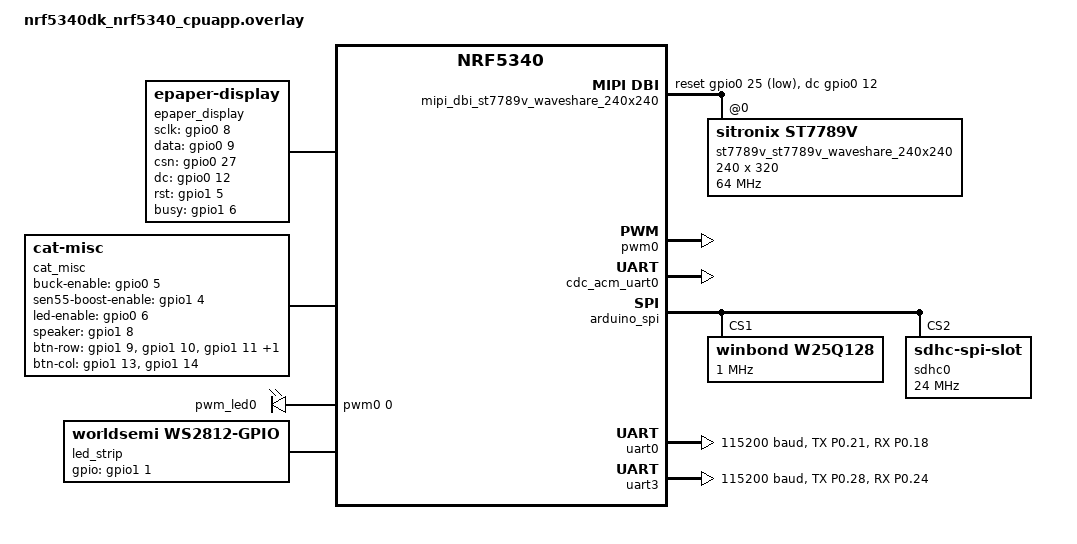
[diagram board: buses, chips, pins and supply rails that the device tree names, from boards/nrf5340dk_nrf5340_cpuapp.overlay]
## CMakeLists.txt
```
# SPDX-License-Identifier: Apache-2.0

cmake_minimum_required(VERSION 3.20.0)

list(APPEND BOARD_ROOT ${CMAKE_CURRENT_SOURCE_DIR})
find_package(Zephyr REQUIRED HINTS $ENV{ZEPHYR_BASE})
project(display)

add_subdirectory(vendor)
add_subdirectory(game)

target_sources(app PRIVATE
	src/batt.c
	src/ble.c
	src/buttons.c
	src/debugmenu.c
	src/display_pinctrl.c
	src/epaper_driver.c
	src/flash.c
	src/imu.c
	src/lcd_driver.c
	src/lcd_rendering.c
	src/main.c
	src/misc.c
	src/msht.c
	src/power_control.c
	src/rgb_leds.c
	src/rp2350_ipc.c
	src/rtc.c
	src/sound.c
	src/sbcdec.c
	src/sdcard.c
	src/sensor_hal.c
	src/sensor_lps22hh.c
	src/sensor_sen5x.c
	src/sensor_sunrise.c
	src/sound.c
	src/touch.c
	src/wlan.c
	src/bl_update.c

	#src/protobufs/nanopb.pb.c
	src/protobufs/pb_common.c
	src/protobufs/pb_decode.c
	src/protobufs/pb_encode.c

	src/protobufs/meshtastic/
	src/protobufs/meshtastic/admin.pb.c
	src/protobufs/meshtastic/apponly.pb.c
	src/protobufs/meshtastic/atak.pb.c
	src/protobufs/meshtastic/cannedmessages.pb.c
	src/protobufs/meshtastic/channel.pb.c
	src/protobufs/meshtastic/clientonly.pb.c
	src/protobufs/meshtastic/config.pb.c
	src/protobufs/meshtastic/connection_status.pb.c
	#src/protobufs/meshtastic/deviceonly.pb.c
	src/protobufs/meshtastic/device_ui.pb.c
	src/protobufs/meshtastic/interdevice.pb.c
	src/protobufs/meshtastic/localonly.pb.c
	src/protobufs/meshtastic/mesh.pb.c
	src/protobufs/meshtastic/module_config.pb.c
	src/protobufs/meshtastic/mqtt.pb.c
	src/protobufs/meshtastic/paxcount.pb.c
	src/protobufs/meshtastic/portnums.pb.c
	src/protobufs/meshtastic/powermon.pb.c
	src/protobufs/meshtastic/remote_hardware.pb.c
	src/protobufs/meshtastic/rtttl.pb.c
	src/protobufs/meshtastic/storeforward.pb.c
	src/protobufs/meshtastic/telemetry.pb.c
	src/protobufs/meshtastic/xmodem.pb.c

	src/mt_test.c


	src/menu/menu_time.c
	src/menu/menu_system.c
)

target_compile_options(app PRIVATE -fsingle-precision-constant)

target_include_directories(app PRIVATE 
	src/ 
	src/menu/
	src/protobufs/
)

if(MINIMIZE_GAME_FOOTPRINT)
	message(WARNING "Not building in the actual game")
	target_compile_definitions(app PRIVATE MINIMIZE_GAME_FOOTPRINT=1)
endif()

if(INCLUDE_BOOTLOADER_IMAGE)
	target_compile_definitions(app PRIVATE BL_IMAGE_INCLUDED=1)
endif()

zephyr_linker_sources(SECTIONS persistant.ld)
```

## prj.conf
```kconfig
CONFIG_BOOTLOADER_MCUBOOT=y
CONFIG_MCUBOOT_BOOTLOADER_MODE_SINGLE_APP=y
CONFIG_MCUBOOT_GENERATE_UNSIGNED_IMAGE=y

CONFIG_LOG=y
CONFIG_LOG_MODE_DEFERRED=y
CONFIG_LOG_BUFFER_SIZE=8192
CONFIG_LOG_PRINTK=n
CONFIG_DISPLAY=y
CONFIG_GPIO=y
CONFIG_I2C=y
CONFIG_LED_STRIP=y
CONFIG_LED_STRIP_LOG_LEVEL_DBG=y
CONFIG_PWM=y

CONFIG_SOC_ENABLE_LFXO=y
CONFIG_SOC_LFXO_CAP_INT_7PF=y
CONFIG_SOC_HFXO_CAP_INTERNAL=y
CONFIG_SOC_HFXO_CAP_INT_VALUE_X2=25

CONFIG_USB_DEVICE_STACK=y
CONFIG_USB_DEVICE_PRODUCT="CAT PROTOTYPE"
CONFIG_USB_DEVICE_PID=0x0004
CONFIG_USB_DEVICE_INITIALIZE_AT_BOOT=n

CONFIG_SERIAL=y
CONFIG_CONSOLE=y
CONFIG_UART_CONSOLE=y
CONFIG_UART_LINE_CTRL=y

CONFIG_SHELL=y
CONFIG_KERNEL_SHELL=y

CONFIG_EARLY_CONSOLE=y

CONFIG_NETWORKING=y
CONFIG_TEST_RANDOM_GENERATOR=y

CONFIG_MAIN_STACK_SIZE=8192
CONFIG_SHELL_STACK_SIZE=5200
CONFIG_NET_TX_STACK_SIZE=2048
CONFIG_NET_RX_STACK_SIZE=2048

CONFIG_NET_DHCPV4=y

CONFIG_NET_IPV4=y
CONFIG_NET_IPV6=n

CONFIG_NET_TCP=y

CONFIG_NET_LOG=y
CONFIG_INIT_STACKS=y

CONFIG_NET_SHELL=y

CONFIG_NET_STATISTICS=y
CONFIG_NET_STATISTICS_PERIODIC_OUTPUT=n

CONFIG_WIFI=y
CONFIG_WIFI_LOG_LEVEL_ERR=y
CONFIG_NET_L2_WIFI_SHELL=y
# printing of scan results puts pressure on queues in new locking
# design in net_mgmt. So, use a higher timeout for a crowded
# environment.
CONFIG_NET_MGMT_EVENT_QUEUE_TIMEOUT=5000
CONFIG_NET_MGMT_EVENT_QUEUE_SIZE=16

# "works" at 64MHz
#CONFIG_DELAY_T0H=51
#CONFIG_DELAY_T1H=102
#CONFIG_DELAY_T0L=109
#CONFIG_DELAY_T1L=57

# "works" at 128MHz
#CONFIG_DELAY_T0H=102
#CONFIG_DELAY_T1H=204
#CONFIG_DELAY_T0L=218
#CONFIG_DELAY_T1L=114

CONFIG_DELAY_T0H=41
CONFIG_DELAY_T0L=48
CONFIG_DELAY_T1H=87
CONFIG_DELAY_T1L=46

CONFIG_NRF_WIFI_IF_AUTO_START=n

CONFIG_FLASH=y
CONFIG_FLASH_SHELL=y
CONFIG_FLASH_SHELL_TEST_COMMANDS=y
CONFIG_REBOOT=y

CONFIG_ADC=y
CONFIG_ADC_ASYNC=y
CONFIG_ADC_NRFX_SAADC=y
CONFIG_CBPRINTF_FP_SUPPORT=y


CONFIG_DISK_ACCESS=y
CONFIG_DISK_DRIVER_SDMMC=y
CONFIG_FILE_SYSTEM=y
CONFIG_FILE_SYSTEM_SHELL=y
CONFIG_FAT_FILESYSTEM_ELM=y






#####################

CONFIG_SYSTEM_WORKQUEUE_STACK_SIZE=4096
CONFIG_STACK_SENTINEL=y

CONFIG_BT=y
CONFIG_LOG=y
CONFIG_BT_SMP=y
CONFIG_BT_SIGNING=y
CONFIG_BT_PERIPHERAL=y
CONFIG_BT_ATT_PREPARE_COUNT=5
CONFIG_BT_BAS=y
CONFIG_BT_PRIVACY=n
CONFIG_BT_DEVICE_NAME="uCrit"
CONFIG_BT_DEVICE_APPEARANCE=1346
CONFIG_BT_DEVICE_NAME_DYNAMIC=y
CONFIG_BT_DEVICE_NAME_MAX=65
CONFIG_BT_OBSERVER=y

CONFIG_BT_KEYS_OVERWRITE_OLDEST=n
CONFIG_BT_SETTINGS=n
CONFIG_FLASH=y
CONFIG_FLASH_MAP=y
CONFIG_NVS=n
CONFIG_SETTINGS=n

CONFIG_BT_DIS=y
CONFIG_BT_DIS_MODEL="uCrit"
CONFIG_BT_DIS_MANUF="Entropic Engineering"
CONFIG_BT_DIS_PNP=n




CONFIG_PINCTRL=y
CONFIG_PINCTRL_DYNAMIC=y

CONFIG_SPI_ASYNC=y



CONFIG_WIFI=y

CONFIG_NRF70_AP_MODE=n
CONFIG_NRF70_P2P_MODE=n
CONFIG_NET_PKT_TX_COUNT=4
CONFIG_NET_PKT_RX_COUNT=4
CONFIG_NET_BUF_TX_COUNT=4
CONFIG_NET_BUF_RX_COUNT=4
CONFIG_NET_MAX_CONTEXTS=2
#CONFIG_NRF70_RX_NUM_BUFS=1
#CONFIG_HEAP_MEM_POOL_IGNORE_MIN=y
CONFIG_SPEED_OPTIMIZATIONS=y
CONFIG_NRF70_QSPI_LOW_POWER=n
CONFIG_NRF70_UTIL=n
#CONFIG_NRF70_MAX_TX_AGGREGATION=1
#CONFIG_NRF70_MAX_TX_TOKENS=5
#CONFIG_ZVFS_OPEN_MAX=3
#CONFIG_NET_SOCKETS_POLL_MAX=3
# Sockets: select + poll take up more stack
CONFIG_MAIN_STACK_SIZE=5200
CONFIG_SHELL_STACK_SIZE=5200
CONFIG_NET_MGMT_EVENT_STACK_SIZE=4600
CONFIG_WIFI_NM_WPA_SUPPLICANT_ADVANCED_FEATURES=n
CONFIG_WIFI_NM_WPA_SUPPLICANT_WPA3=n
CONFIG_WIFI_NM_WPA_SUPPLICANT_CRYPTO=y
CONFIG_WIFI_NM_WPA_SUPPLICANT_CRYPTO_ALT=n


####

CONFIG_SIZE_OPTIMIZATIONS=y
CONFIG_ARM_MPU=n
CONFIG_BT_DEBUG_NONE=y
CONFIG_BT_CONN_LOG_LEVEL_OFF=y
CONFIG_BT_HCI_CORE_LOG_LEVEL_OFF=y
CONFIG_BT_ASSERT=n
CONFIG_BT_DATA_LEN_UPDATE=n
CONFIG_BT_PHY_UPDATE=n
CONFIG_BT_GATT_CACHING=n
CONFIG_BT_GATT_SERVICE_CHANGED=n
CONFIG_BT_GAP_PERIPHERAL_PREF_PARAMS=n
CONFIG_BT_SETTINGS_CCC_LAZY_LOADING=y
CONFIG_BT_HCI_VS=y
CONFIG_BT_CTLR_PRIVACY=n
CONFIG_BT_CTLR_PHY_2M=n
CONFIG_BT_BUF_EVT_DISCARDABLE_COUNT=1
CONFIG_BT_BUF_EVT_DISCARDABLE_SIZE=43
CONFIG_BT_BUF_EVT_RX_COUNT=2

CONFIG_BT_CONN_TX_MAX=6
CONFIG_BT_L2CAP_TX_BUF_COUNT=6
CONFIG_BT_ATT_TX_COUNT=6
CONFIG_BT_BUF_ACL_TX_COUNT=6
CONFIG_BT_BUF_ACL_TX_SIZE=69

CONFIG_POWEROFF=y

CONFIG_NRFX_RTC0=y
CONFIG_NRFX_TIMER0=y
CONFIG_SHELL_BACKEND_SERIAL_RX_RING_BUFFER_SIZE=256
CONFIG_HEAP_MEM_POOL_SIZE=1
#^gets overridden but enables fs shell

CONFIG_WIFI=n
CONFIG_LINKER_LAST_SECTION_ID=n
#CONFIG_PM_DEVICE=y

################################################################
## Optimizations

CONFIG_FPU=y
CONFIG_FPU_SHARING=y

#CONFIG_ISR_TABLES_LOCAL_DECLARATION=y
#CONFIG_LTO=y

CONFIG_NETWORKING=y

CONFIG_SHELL=n
CONFIG_NET_SHELL=n
CONFIG_SHELL_BACKEND_SERIAL=n
CONFIG_FLASH_SHELL=n
CONFIG_NET_L2_WIFI_SHELL=n
CONFIG_KERNEL_SHELL=n
CONFIG_SHELL_MINIMAL=n
CONFIG_SHELL_HELP=n
CONFIG_SHELL_HISTORY=n
CONFIG_SHELL_STATS=n
CONFIG_SHELL_CMDS=n
CONFIG_SHELL_CMDS_RESIZE=n
CONFIG_SHELL_CMDS_SELECT=n
CONFIG_SHELL_LOG_BACKEND=n
CONFIG_SHELL_AUTOSTART=n

CONFIG_NEWLIB_LIBC_FLOAT_PRINTF=n
CONFIG_NEWLIB_LIBC_FLOAT_SCANF=n
```

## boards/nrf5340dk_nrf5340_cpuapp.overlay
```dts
#include <zephyr/dt-bindings/mipi_dbi/mipi_dbi.h>

&flash0 {
	/delete-node/ partitions;
	partitions {
		compatible = "fixed-partitions";
		#address-cells = < 0x1 >;
		#size-cells = < 0x1 >;
		boot_partition: partition@0 {
			label = "catboot";
			reg = < 0x00000 0x0E000 >;
		};
		slot0_partition: partition@E000 {
			label = "image-0";
			reg = < 0x0E000 0xF2000 >;
		};
	};
};

/ {
	
	chosen {
		zephyr,display = &st7789v_st7789v_waveshare_240x240;
		gpio0 = &gpio0;
		pwm = &pwm0;
	};


	mipi_dbi_st7789v_waveshare_240x240 {
		status = "okay";
		compatible = "zephyr,mipi-dbi-spi";
		spi-dev = <&display_spi>;
		dc-gpios = <&gpio0 12 GPIO_ACTIVE_HIGH>;
		reset-gpios = <&gpio0 25 GPIO_ACTIVE_LOW>;
		write-only;
		#address-cells = <1>;
		#size-cells = <0>;

		st7789v_st7789v_waveshare_240x240: st7789v@0 {
			status = "okay";
			compatible = "sitronix,st7789v";
			mipi-max-frequency = <DT_FREQ_M(64)>;
			reg = <0>;
			width = <240>;
			height = <320>;
			x-offset = <0>;
			y-offset = <0>;
			vcom = <0x19>;
			gctrl = <0x35>;
			vrhs = <0x12>;
			vdvs = <0x20>;
			mdac = <0x00>;
			gamma = <0x01>;
			colmod = <0x05>;
			lcm = <0x2c>;
			porch-param = [0c 0c 00 33 33];
			cmd2en-param = [5a 69 02 01];
			pwctrl1-param = [a4 a1];
			pvgam-param = [D0 04 0D 11 13 2B 3F 54 4C 18 0D 0B 1F 23];
			nvgam-param = [D0 04 0C 11 13 2C 3F 44 51 2F 1F 1F 20 23];
			ram-param = [00 F0];
			rgb-param = [CD 08 14];
			mipi-mode = <MIPI_DBI_MODE_SPI_4WIRE>;
			inversion-off;
		};
	};
	


	epaper_display: epaper-display {
		compatible = "epaper-display";

		sclk-gpios = <&gpio0 8 GPIO_ACTIVE_HIGH>;
		data-gpios = <&gpio0 9 GPIO_ACTIVE_HIGH>;
		csn-gpios = <&gpio0 27 GPIO_ACTIVE_HIGH>;
		dc-gpios = <&gpio0 12 GPIO_ACTIVE_HIGH>;
		rst-gpios = <&gpio1 5 GPIO_ACTIVE_HIGH>;
		busy-gpios = <&gpio1 6 (GPIO_ACTIVE_HIGH|GPIO_PULL_UP)>;
	};

	cat_misc: cat-misc {
		compatible = "cat-misc";

		buck-enable-gpios = <&gpio0 5 GPIO_ACTIVE_HIGH>;
		sen55-boost-enable-gpios = <&gpio1 4 GPIO_ACTIVE_HIGH>;
		led-enable-gpios = <&gpio0 6 GPIO_ACTIVE_HIGH>;
		speaker-gpios = <&gpio1 8 GPIO_ACTIVE_HIGH>;
		btn-row-gpios = <&gpio1 9 GPIO_ACTIVE_HIGH>, <&gpio1 10 GPIO_ACTIVE_HIGH>, <&gpio1 11 GPIO_ACTIVE_HIGH>, <&gpio1 12 GPIO_ACTIVE_HIGH> ;
		btn-col-gpios = <&gpio1 13 GPIO_ACTIVE_HIGH>, <&gpio1 14 GPIO_ACTIVE_HIGH>;
	};

	pwmleds {
		compatible = "pwm-leds";
		status = "okay";
		pwm_led0: pwm_led_0 {
			status = "okay";
			pwms = <&pwm0 0 PWM_MSEC(20) PWM_POLARITY_NORMAL>;
		};
	};

	aliases {
		pwm-led0 = &pwm_led0;
		pwm0 = &pwm0;
	};
};

&pwm0 {
	status = "okay";
	pinctrl-0 = <&pwm0_default>;
	pinctrl-1 = <&pwm0_sleep>;
	pinctrl-names = "default", "sleep";
	#lcd-backlight-pwm-cells = <0>;
};

/ {
	chosen {
		zephyr,console = &cdc_acm_uart0;
	};
};

/ {
	chosen {
		zephyr,shell-uart = &cdc_acm_uart0;
	};
};

&zephyr_udc0 {
	cdc_acm_uart0: cdc_acm_uart0 {
		compatible = "zephyr,cdc-acm-uart";
	};
};

/ {
	chosen {
		xxx,sdhcd0 = &sdhc0;
		xxx,mmc = &mmc;
	};
};

&gpio_fwd {
	status = "disabled";
};

#include <zephyr/dt-bindings/gpio/nordic-nrf-gpio.h>
#include <zephyr/dt-bindings/gpio/gpio.h>

&arduino_spi {
	status = "okay";

	w25q128: w25q128@1 {
        compatible = "winbond,w25q128", "jedec,spi-nor";
        zephyr,deferred-init;
        status = "okay";
        reg = <1>;
        spi-max-frequency = <DT_FREQ_M(1)>;
        size = <0x8000000>;  /* 16MB (128Mbit) */
        jedec-id = [ef 70 18]; // W25Q128JVPIM TODO: Will need to modify if switching to qspi [capable]
    };

    sdhc0: sdhc@2 {
        compatible = "zephyr,sdhc-spi-slot";
        zephyr,deferred-init;
        reg = <2>;
        status = "okay";
        mmc: mmc {
            compatible = "zephyr,sdmmc-disk";
            zephyr,deferred-init;
            status = "okay";
        };
        spi-max-frequency = <24000000>;
    };
};

&uart0 {
    status = "okay";
    current-speed = <115200>;
    pinctrl-0 = <&uart0_default>;
    pinctrl-1 = <&uart0_sleep>;
    pinctrl-names = "default", "sleep";
};

&pinctrl {
    uart0_default: uart0_default {
        group1 {
            psels = <NRF_PSEL(UART_TX, 0, 21)>,
                    <NRF_PSEL(UART_RX, 0, 18)>;
        };
    };

    uart0_sleep: uart0_sleep {
        group1 {
            psels = <NRF_PSEL(UART_TX, 0, 21)>,
                    <NRF_PSEL(UART_RX, 0, 18)>;
            low-power-enable;
        };
    };
};

&uart3 {
    status = "okay";
    #current-speed = <38400>;
    current-speed = <115200>;
    pinctrl-0 = <&uart3_default>;
    pinctrl-1 = <&uart3_sleep>;
    pinctrl-names = "default", "sleep";
};

&pinctrl {
    uart3_default: uart3_default {
        group1 {
            psels = <NRF_PSEL(UART_TX, 0, 28)>,
                    <NRF_PSEL(UART_RX, 0, 24)>;
        };
    };

    uart3_sleep: uart3_sleep {
        group1 {
            psels = <NRF_PSEL(UART_TX, 0, 28)>,
                    <NRF_PSEL(UART_RX, 0, 24)>;
            low-power-enable;
        };
    };
};

#include <zephyr/dt-bindings/led/led.h>

/ {
	led_strip: ws2812 {
		compatible = "worldsemi,ws2812-gpio";

		chain-length = <8>; /* arbitrary */
		color-mapping = <LED_COLOR_ID_GREEN
				 LED_COLOR_ID_RED
				 LED_COLOR_ID_BLUE>;

		gpios = <&gpio1 1 0>;
	};

	aliases {
		led-strip = &led_strip;
	};
};


&pinctrl {
	/* Alternative pin configuration for UART0 */
	pc_alt_lcd: pc_alt_lcd {
		group1 {
			psels = <NRF_PSEL(SPIM_SCK, 0, 8)>,
				<NRF_PSEL_DISCONNECTED(SPIM_MISO)>,
				<NRF_PSEL(SPIM_MOSI, 0, 9)>;
		};
	};

	pc_alt_epd: pc_alt_epd {
		group1 {
			psels = <NRF_PSEL_DISCONNECTED(SPIM_SCK)>,
				<NRF_PSEL_DISCONNECTED(SPIM_MISO)>,
				<NRF_PSEL_DISCONNECTED(SPIM_MOSI)>;
		};
	};
};

/* ——— force the NFCT pins to behave like GPIOs ——— */
&uicr {
	nfct-pins-as-gpios;
};
```

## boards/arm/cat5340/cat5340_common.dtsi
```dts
/*
 * Copyright (c) 2020 Nordic Semiconductor ASA
 *
 * SPDX-License-Identifier: Apache-2.0
 */

/ {
	/*
	leds {
		status = "disabled";
		compatible = "gpio-leds";
		led0: led_0 {
			gpios = <&gpio0 28 GPIO_ACTIVE_LOW>;
			label = "Green LED 0";
		};
		led1: led_1 {
			gpios = <&gpio0 29 GPIO_ACTIVE_LOW>;
			label = "Green LED 1";
		};
		led2: led_2 {
			gpios = <&gpio0 30 GPIO_ACTIVE_LOW>;
			label = "Green LED 2";
		};
		led3: led_3 {
			gpios = <&gpio0 31 GPIO_ACTIVE_LOW>;
			label = "Green LED 3";
		};
	};

	buttons {
		status = "disabled";
		compatible = "gpio-keys";
		button0: button_0 {
			gpios = <&gpio0 23 (GPIO_PULL_UP | GPIO_ACTIVE_LOW)>;
			label = "Push button 1";
			zephyr,code = <INPUT_KEY_0>;
		};
		button1: button_1 {
			gpios = <&gpio0 24 (GPIO_PULL_UP | GPIO_ACTIVE_LOW)>;
			label = "Push button 2";
			zephyr,code = <INPUT_KEY_1>;
		};
		button2: button_2 {
			gpios = <&gpio0 8 (GPIO_PULL_UP | GPIO_ACTIVE_LOW)>;
			label = "Push button 3";
			zephyr,code = <INPUT_KEY_2>;
		};
		button3: button_3 {
			gpios = <&gpio0 9 (GPIO_PULL_UP | GPIO_ACTIVE_LOW)>;
			label = "Push button 4";
			zephyr,code = <INPUT_KEY_3>;
		};
	};
	*/

	/*
	arduino_header: connector {
		compatible = "arduino-header-r3";
		#gpio-cells = <2>;
		gpio-map-mask = <0xffffffff 0xffffffc0>;
		gpio-map-pass-thru = <0 0x3f>;
		gpio-map = <0 0 &gpio0 4 0>,  // A0
			   <1 0 &gpio0 5 0>,  // A1
			   <2 0 &gpio0 6 0>,  // A2
			   <3 0 &gpio0 7 0>,  // A3
			   <4 0 &gpio0 25 0>,  // A4
			   <5 0 &gpio0 26 0>,  // A5
			   <6 0 &gpio1 0 0>,  // D0
			   <7 0 &gpio1 1 0>,  // D1
			   <8 0 &gpio1 4 0>,  // D2
			   <9 0 &gpio1 5 0>,  // D3
			   <10 0 &gpio1 6 0>,  // D4
			   <11 0 &gpio1 7 0>,  // D5
			   <12 0 &gpio1 8 0>,  // D6
			   <13 0 &gpio1 9 0>,  // D7
			   <14 0 &gpio1 10 0>,  // D8
			   <15 0 &gpio1 11 0>,  // D9
			   <16 0 &gpio1 12 0>,  // D10
			   <17 0 &gpio1 13 0>,  // D11
			   <18 0 &gpio1 14 0>,  // D12
			   <19 0 &gpio1 15 0>,  // D13
			   <20 0 &gpio1 2 0>,  // D14
			   <21 0 &gpio1 3 0>;  // D15
	};
	*/

	/* These aliases are provided for compatibility with samples */
	aliases {
		/*
		led0 = &led0;
		led1 = &led1;
		led2 = &led2;
		led3 = &led3;
		sw0 = &button0;
		sw1 = &button1;
		sw2 = &button2;
		sw3 = &button3;
		bootloader-led0 = &led0;
		mcuboot-button0 = &button0;
		mcuboot-led0 = &led0;
		*/
	};
};
```

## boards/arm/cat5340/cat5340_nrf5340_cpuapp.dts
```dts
/*
 * Copyright (c) 2020 Nordic Semiconductor ASA
 *
 * SPDX-License-Identifier: Apache-2.0
 */

/dts-v1/;
#include <nordic/nrf5340_cpuapp_qkaa.dtsi>
#include "nrf5340_cpuapp_common.dtsi"

/ {
	model = "Nordic NRF5340 DK NRF5340 Application";
	compatible = "nordic,cat5340-nrf5340-cpuapp";

	chosen {
		zephyr,sram = &sram0_image;
		zephyr,flash = &flash0;
		zephyr,code-partition = &slot0_partition;
		zephyr,sram-secure-partition = &sram0_s;
		zephyr,sram-non-secure-partition = &sram0_ns;
	};
};


#include "../../nrf5340dk_nrf5340_cpuapp.overlay"
```

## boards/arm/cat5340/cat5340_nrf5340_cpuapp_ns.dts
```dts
/*
 * Copyright (c) 2020 Nordic Semiconductor ASA
 *
 * SPDX-License-Identifier: Apache-2.0
 */

/dts-v1/;
#include <nordic/nrf5340_cpuappns_qkaa.dtsi>
#include "nrf5340_cpuapp_common.dtsi"

/ {
	model = "Nordic NRF5340 DK NRF5340 Application";
	compatible = "nordic,cat5340-nrf5340-cpuapp";

	chosen {
		zephyr,sram = &sram0_ns_app;
		zephyr,flash = &flash0;
		zephyr,code-partition = &slot0_ns_partition;
	};
};
```

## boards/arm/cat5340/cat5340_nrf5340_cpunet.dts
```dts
/*
 * Copyright (c) 2020 Nordic Semiconductor ASA
 *
 * SPDX-License-Identifier: Apache-2.0
 */

/dts-v1/;
#include <nordic/nrf5340_cpunet_qkaa.dtsi>
#include "cat5340_common.dtsi"
#include "cat5340_nrf5340_cpunet-pinctrl.dtsi"
#include <zephyr/dt-bindings/input/input-event-codes.h>

/ {
	model = "Nordic NRF5340 DK NRF5340 Network";
	compatible = "nordic,cat5340-nrf5340-cpunet";

	chosen {
		zephyr,console = &uart0;
		zephyr,shell-uart = &uart0;
		zephyr,uart-mcumgr = &uart0;
		zephyr,bt-mon-uart = &uart0;
		zephyr,bt-c2h-uart = &uart0;
		zephyr,bt-hci-ipc = &ipc0;
		nordic,802154-spinel-ipc = &ipc0;
		zephyr,sram = &sram1;
		zephyr,flash = &flash1;
		zephyr,code-partition = &slot0_partition;
		zephyr,ieee802154 = &ieee802154;
	};

	/* These aliases are provided for compatibility with samples */
	aliases {
		watchdog0 = &wdt0;
	};
};

&gpiote {
	status = "okay";
};

&gpio0 {
	status = "okay";
};

&gpio1 {
	status = "okay";
};

&uart0 {
	status = "okay";
	current-speed = <115200>;
	pinctrl-0 = <&uart0_default>;
	pinctrl-1 = <&uart0_sleep>;
	pinctrl-names = "default", "sleep";
};

arduino_serial: &uart0{};

arduino_i2c: &i2c0 {
	compatible = "nordic,nrf-twim";
	/* Cannot be used together with uart0. */
	/* status = "okay"; */
	pinctrl-0 = <&i2c0_default>;
	pinctrl-1 = <&i2c0_sleep>;
	pinctrl-names = "default", "sleep";
};

arduino_spi: &spi0 {
	compatible = "nordic,nrf-spim";
	/* Cannot be used together with uart0. */
	/* status = "okay"; */
	cs-gpios = <&arduino_header 16 GPIO_ACTIVE_LOW>; /* D10 */
	pinctrl-0 = <&spi0_default>;
	pinctrl-1 = <&spi0_sleep>;
	pinctrl-names = "default", "sleep";
};

&flash1 {

	partitions {
		compatible = "fixed-partitions";
		#address-cells = <1>;
		#size-cells = <1>;

		boot_partition: partition@0 {
			label = "mcuboot";
			reg = <0x00000000 0xc000>;
		};
		slot0_partition: partition@c000 {
			label = "image-0";
			reg = <0x0000C000 0x17000>;
		};
		slot1_partition: partition@23000 {
			label = "image-1";
			reg = <0x00023000 0x17000>;
		};
		storage_partition: partition@3a000 {
			label = "storage";
			reg = <0x0003a000 0x6000>;
		};
	};
};

&ieee802154 {
	status = "okay";
};

/* Include default shared RAM configuration file */
#include <common/nordic/nrf5340_shared_sram_partition.dtsi>
```

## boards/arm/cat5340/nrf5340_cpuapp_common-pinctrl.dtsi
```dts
/*
 * Copyright (c) 2022 Nordic Semiconductor
 * SPDX-License-Identifier: Apache-2.0
 */

&pinctrl {
	pwm0_default: pwm0_default {
		group1 {
			psels = <NRF_PSEL(PWM_OUT0, 1, 0)>;
		};
	};

	pwm0_sleep: pwm0_sleep {
		group1 {
			psels = <NRF_PSEL(PWM_OUT0, 1, 0)>;
			low-power-enable;
		};
	};

	i2c1_default: i2c1_default {
		group1 {
			psels = <NRF_PSEL(TWIM_SDA, 1, 2)>,
				<NRF_PSEL(TWIM_SCL, 1, 3)>;
		};
	};

	i2c1_sleep: i2c1_sleep {
		group1 {
			psels = <NRF_PSEL(TWIM_SDA, 1, 2)>,
				<NRF_PSEL(TWIM_SCL, 1, 3)>;
			low-power-enable;
		};
	};

	spi4_default: spi4_default {
		group1 {
			psels = <NRF_PSEL(SPIM_SCK, 0, 17)>,
				<NRF_PSEL(SPIM_MISO, 0, 14)>,
				<NRF_PSEL(SPIM_MOSI, 0, 13)>;
		};
	};

	spi4_sleep: spi4_sleep {
		group1 {
			psels = <NRF_PSEL(SPIM_SCK, 0, 17)>,
				<NRF_PSEL(SPIM_MISO, 0, 14)>,
				<NRF_PSEL(SPIM_MOSI, 0, 13)>;
			low-power-enable;
		};
	};

	spi2_default: spi2_default {
		group1 {
			psels = <NRF_PSEL(SPIM_SCK, 0, 8)>,
				<NRF_PSEL_DISCONNECTED(SPIM_MISO)>,
				<NRF_PSEL(SPIM_MOSI, 0, 9)>;
		};
	};

	spi2_sleep: spi2_sleep {
		group1 {
			psels = <NRF_PSEL(SPIM_SCK, 0, 8)>,
				<NRF_PSEL_DISCONNECTED(SPIM_MISO)>,
				<NRF_PSEL(SPIM_MOSI, 0, 9)>;
			low-power-enable;
		};
	};

};
```

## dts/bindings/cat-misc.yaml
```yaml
# Copyright (c) 2023 Libre Solar Technologies GmbH
# SPDX-License-Identifier: Apache-2.0

description: Misc

compatible: "cat-misc"

properties:
  buck-enable-gpios:
    type: phandle-array
    required: true
  sen55-boost-enable-gpios:
    type: phandle-array
    required: true
  speaker-gpios:
    type: phandle-array
    required: true
  btn-row-gpios:
    type: phandle-array
    required: true
  btn-col-gpios:
    type: phandle-array
    required: true
  led-enable-gpios:
    type: phandle-array
    required: true
```

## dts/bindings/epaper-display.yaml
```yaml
# Copyright (c) 2023 Libre Solar Technologies GmbH
# SPDX-License-Identifier: Apache-2.0

description: Epaper

compatible: "epaper-display"

properties:
  sclk-gpios:
    type: phandle-array
    required: true
  data-gpios:
    type: phandle-array
    required: true
  csn-gpios:
    type: phandle-array
    required: true
  dc-gpios:
    type: phandle-array
    required: true
  rst-gpios:
    type: phandle-array
    required: true
  busy-gpios:
    type: phandle-array
    required: true
```

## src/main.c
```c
/*
 * Copyright (c) 2019 Jan Van Winkel <jan.van_winkel@dxplore.eu>
 *
 * Based on ST7789V sample:
 * Copyright (c) 2019 Marc Reilly
 *
 * SPDX-License-Identifier: Apache-2.0
 */

#include <zephyr/logging/log.h>
LOG_MODULE_REGISTER(sample, LOG_LEVEL_INF);

#include <zephyr/kernel.h>
#include <zephyr/usb/usb_device.h>
#include <zephyr/drivers/uart.h>

#include <zephyr/logging/log_ctrl.h>
#include <zephyr/drivers/gpio.h>

#include <zephyr/shell/shell.h>

#include <zephyr/sys/reboot.h>
#include <zephyr/sys/poweroff.h>

#include "lcd_driver.h"
#include "lcd_rendering.h"
#include "ble.h"
#include "wlan.h"
#include "sdcard.h"
#include "flash.h"
#include "rgb_leds.h"
#include "rtc.h"
#include "buttons.h"
#include "batt.h"
#include "epaper_rendering.h"
#include "rp2350_ipc.h"
#include "power_control.h"

int main(void)
{
	print_rtc_boot_timing();

	/* ── Phase 1: Minimal HW setup (fast, no delays) ── */
	init_power_control();
	check_rtc_init();
	init_adc();
	NRF_CLOCK_S->HFCLKCTRL = (CLOCK_HFCLKCTRL_HCLK_Div1 << CLOCK_HFCLKCTRL_HCLK_Pos); // 128MHz
	init_buttons();

	/* ── Phase 2: Immediate user feedback (skip for silent timer-wake) ── */
	if (!wakeup_is_from_timer)
	{
		test_speaker();
		lcd_init();

		/* Show splash text while the rest of init proceeds */
		{
			const char *msg = "Waking up...";
			int msg_len = 12;
			int text_x = (LCD_IMAGE_W - msg_len * 8) / 2;
			int text_y = (LCD_IMAGE_H - 8) / 2;

			for (int seg = 0; seg < LCD_FRAMEBUFFER_SEGMENTS; seg++)
			{
				framebuffer_offset_h = LCD_FRAMEBUFFER_H * seg;
				memset(lcd_framebuffer, 0, sizeof(uint16_t) * LCD_FRAMEBUFFER_PIXELS);
				lcd_write_str(0xFFFF, text_x, text_y, (char *)msg);
				lcd_flip(lcd_framebuffer, framebuffer_offset_h);
			}
			framebuffer_offset_h = 0;
		}

		usb_enable(NULL);
	}

	/* ── Phase 3: Remaining init ── */
	set_3v3(true);

	init_epaper_enough_for_it_to_calm_the_fuck_down();

	set_5v0(true);
	set_leds(true);

	sensor_init();
	imu_init();

	LOG_INF("Config Q2/Q3");
	if (gpio_pin_configure(DEVICE_DT_GET(DT_CHOSEN(gpio0)), 15, GPIO_OUTPUT_HIGH)) LOG_ERR("Init 0.15 failed");
	gpio_pin_set(DEVICE_DT_GET(DT_CHOSEN(gpio0)), 15, true);
	if (gpio_pin_configure(DEVICE_DT_GET(DT_CHOSEN(gpio0)), 16, GPIO_OUTPUT_HIGH)) LOG_ERR("Init 0.16 failed");
	gpio_pin_set(DEVICE_DT_GET(DT_CHOSEN(gpio0)), 16, true);

	const struct device *flash_dev = DEVICE_DT_GET_ONE(jedec_spi_nor);

	if (device_init(flash_dev))
	{
		printk("failed to init flash_dev");
	}

	test_flash();
	continue_rtc_from_log();

	if (wakeup_is_from_timer)
	{
		LOG_DBG("Booted from timer");

		set_first_led((struct led_rgb){.g=1});
		k_msleep(50);

		// Check once at timer-wake start to avoid running sensors on critically low battery.
		if (get_battery_pct() <= 5)
		{
			LOG_INF("Battery low on timer wake");
			CAT_eink_draw_power_off();
			CAT_eink_update(true);
			CAT_shutdown();
		}

		bool trying_to_take_nox_reading = nox_sample_period != 0 && (nox_sample_counter == (nox_sample_period-1));

		int cycle = 1;
#define CYCLE_TIME 20
		while (cycle++)
		{
			int intensity = ((cycle%20)>10)?1:3;
			struct led_rgb color = {0};
			if (trying_to_take_nox_reading)
			{
				color.b = intensity;
			}
			else
			{
				color.g = intensity;
			}

			set_first_led(color);
			k_msleep(CYCLE_TIME);

			sensor_read_once();
			update_buttons();

			if (current_buttons)
			{
				/* Button pressed during timer-wake — init LCD for game mode */
				lcd_init();
				usb_enable(NULL);
				break;
			}

			LOG_DBG("Waiting for sensors ready..., cycle=%d", cycle);

			// ~15s for PM
			// ~65s for NOC+VOX!?!?!

			bool are_ready = is_ready_for_aqi_logging();

			if (trying_to_take_nox_reading)
			{
				if ((readings.sen5x.voc_index == 0) ||
					(readings.sen5x.nox_index == 0))
				{
					are_ready = false;
				}
			}

			if (are_ready)
			{
				nox_sample_counter++;
				if (nox_sample_period == nox_sample_counter)
				{
					nox_sample_counter = 0;
				}

				LOG_INF("readings ready");
				k_msleep(20);

				//if(!(persist_flags & CAT_PERSIST_CONFIG_FLAG_PAUSE_LOGGING))
				populate_next_log_cell();

				/* Briefly advertise BTHome sensor data for HA */
				ble_broadcast_bthome();

				LOG_INF("update eink");
				k_msleep(20);
				CAT_eink_draw_default();
				CAT_eink_update(false);

				LOG_INF("power off");
				k_msleep(20);
				// Guard before sleeping in case battery sagged during this wake.
				if (get_battery_pct() <= 5)
				{
					LOG_INF("Battery low after timer wake work");
					CAT_eink_draw_power_off();
					CAT_eink_update(true);
					CAT_shutdown();
				}
				CAT_sleep();
			}

			if (cycle > (120000/CYCLE_TIME))
			{
				// give up and try again later
				LOG_INF("Giving up and power off");
				// Guard before sleeping in case battery sagged during this wake.
				if (get_battery_pct() <= 5)
				{
					LOG_INF("Battery low after timer wake work");
					CAT_eink_draw_power_off();
					CAT_eink_update(true);
					CAT_shutdown();
				}
				CAT_sleep();
			}
		}
	}

	ble_main();

	const struct device *sdhc_dev = DEVICE_DT_GET(DT_CHOSEN(xxx_sdhcd0));

	if (device_init(sdhc_dev))
	{
		printk("failed to init sdhc");
	}

	const struct device *mmc_dev = DEVICE_DT_GET(DT_CHOSEN(xxx_mmc));

	if (device_init(mmc_dev))
	{
		printk("failed to init mmc");
	}

	test_sdcard();

#ifdef CONFIG_WIFI
	const struct device *wifi_dev = DEVICE_DT_GET(DT_CHOSEN(zephyr_wifi));

	if (device_init(wifi_dev))
	{
		printk("failed to init wlan");
	}

	set_mac();
#else
	LOG_ERR("Wifi compiled out");
#endif

	lcd_render_diag();
}
```

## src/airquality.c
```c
#include "airquality.h"

struct current_readings current_readings = {0};
```

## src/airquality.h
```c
#pragma once

#include <stdint.h>

struct current_readings {
	struct {
		uint64_t uptime_last_updated;
		float temp, pressure;
	} lps22hh;
	
	struct {
		uint64_t uptime_last_updated;
		float ppm_filtered_compensated;
		float ppm_filtered_uncompensated;
		float temp;
	} sunrise;
	
	struct {
		uint64_t uptime_last_updated;
		float pm1_0, pm2_5, pm4_0, pm10_0;
		float nc0_5, nc1_0, nc2_5, nc4_0, nc10_0;
		float typ_particle_sz_um;
		float humidity_rhpct, temp_degC, voc_index, nox_index;
	} sen5x;
};

extern struct current_readings current_readings;
```

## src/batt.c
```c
#include <stdio.h>
#include <string.h>
#include <zephyr/drivers/adc.h>
#include <hal/nrf_saadc.h>

/* ─────────────────────────── ADC configuration ─────────────────────────── */
#define ADC_RESOLUTION          10
#define ADC_GAIN                ADC_GAIN_1_4
#define ADC_REFERENCE           ADC_REF_INTERNAL
#define ADC_ACQUISITION_TIME    ADC_ACQ_TIME(ADC_ACQ_TIME_MICROSECONDS, 40)

#define ADC_1ST_CHANNEL_ID      0
#define ADC_1ST_CHANNEL_INPUT   NRF_SAADC_INPUT_AIN0

#define VREF_MV                 600U   /* Internal reference */
#define ADC_MAX_VALUE           1023U  /* 10‑bit full‑scale */
#define DIVIDER_RATIO_NUM       2U     /* undo 1∕2 divider  */
#define DIVIDER_RATIO_DEN       1U
#define GAIN_NUM                4U     /* undo 1∕4 gain     */
#define GAIN_DEN                1U

/* Low‑battery annunciation threshold */
#define BATTERY_LOW_PCT         20

const struct device *adc_dev = DEVICE_DT_GET(DT_NODELABEL(adc));

static const struct adc_channel_cfg m_1st_channel_cfg = {
    .gain             = ADC_GAIN,
    .reference        = ADC_REFERENCE,
    .acquisition_time = ADC_ACQUISITION_TIME,
    .channel_id       = ADC_1ST_CHANNEL_ID,
#if defined(CONFIG_ADC_CONFIGURABLE_INPUTS)
    .input_positive   = ADC_1ST_CHANNEL_INPUT,
#endif
};

#define BUFFER_SIZE 1
static int16_t m_sample_buffer[BUFFER_SIZE];

/* ── Voltage → SoC lookup (5 % … 95 % + explicit 20 %) ───────────────────── */
typedef struct {
    uint16_t mv;  /* cell voltage in mV */
    uint8_t  soc; /* associated SoC %  */
} soc_point_t;

static const soc_point_t soc_lut[] = {
    {3300,  0},           // empty cutoff 
    {3414,  5}, {3503, 15}, {3535, 20}, {3560, 25}, {3602, 35},
    {3642, 45}, {3698, 55}, {3783, 65}, {3871, 75}, {3963, 85},
    {4065, 95},
    {4200, 100}           //Pretty full
};
#define LUT_LEN (sizeof soc_lut / sizeof soc_lut[0])

/* ────────────────────────── Helper functions ───────────────────────────── */
static uint16_t adc_raw_to_batt_mv(int16_t raw)
{
    uint32_t mv = (uint32_t)raw * VREF_MV * GAIN_NUM * DIVIDER_RATIO_NUM;
    mv /= (ADC_MAX_VALUE * GAIN_DEN * DIVIDER_RATIO_DEN);
    return (uint16_t)mv;
}

static uint8_t mv_to_soc(uint16_t mv)
{
    const size_t last = LUT_LEN - 1;

    if (mv < soc_lut[0].mv)   return 0;     // below first anchor
    if (mv > soc_lut[last].mv) return 100;  // above last anchor

    for (size_t i = 1; i <= last; ++i) {
        if (mv <= soc_lut[i].mv) {
            uint16_t mv_lo  = soc_lut[i - 1].mv;
            uint16_t mv_hi  = soc_lut[i].mv;
            uint8_t  soc_lo = soc_lut[i - 1].soc;
            uint8_t  soc_hi = soc_lut[i].soc;

            uint16_t delta_mv = (uint16_t)(mv_hi - mv_lo);
            if (delta_mv == 0) return soc_hi;  // should not happen if LUT is sane

            // Rounded linear interpolation
            uint32_t num = (uint32_t)(mv - mv_lo) * (uint32_t)(soc_hi - soc_lo);
            num += delta_mv / 2; // for rounding instead of truncation
            return (uint8_t)(soc_lo + (num / delta_mv));
        }
    }

    return 100; // shouldn't hit
}

/* ────────────────────────── SAADC wrappers ─────────────────────────────── */
int adc_sample(void)
{
    const struct adc_sequence sequence = {
        .channels    = BIT(ADC_1ST_CHANNEL_ID),
        .buffer      = m_sample_buffer,
        .buffer_size = sizeof(m_sample_buffer),
        .resolution  = ADC_RESOLUTION,
    };

    int ret = adc_read(adc_dev, &sequence);
    if (ret) {
        printk("ADC read err: %d\n", ret);
        return -1;
    }
    return m_sample_buffer[0];
}

/* Restored to match original interface. */
float adc_get_voltage(void)
{
    return adc_raw_to_batt_mv(adc_sample()) / 1000.0f;
}

uint16_t adc_get_battery_mv(void)
{
    int16_t raw = adc_sample();
    if (raw < 0) {
        return 0;
    }
    return adc_raw_to_batt_mv(raw);
}

/* ────────────────────────── Public API ─────────────────────────────────── */
int get_battery_pct(void)
{
    return (int)mv_to_soc(adc_get_battery_mv());
}

int init_adc(void)
{
    printk("nRF53 SAADC battery monitor init\n");

    if (!device_is_ready(adc_dev)) {
        printk("ADC device not ready\n");
        return -ENODEV;
    }

    int err = adc_channel_setup(adc_dev, &m_1st_channel_cfg);
    if (err) {
        printk("ADC channel setup failed (%d)\n", err);
        return err;
    }

    /* Offset calibration; discard first sample */
    NRF_SAADC_S->TASKS_CALIBRATEOFFSET = 1;
    k_msleep(2);
    (void)adc_sample();

    return 0;
}
```

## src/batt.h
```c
void init_adc();
int adc_sample();
float adc_get_voltage();
int get_battery_pct();
```

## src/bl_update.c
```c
#include "bl_update.h"

#include <zephyr/kernel.h>
#include <zephyr/drivers/flash.h>
#include <zephyr/storage/flash_map.h>
#include <zephyr/sys/reboot.h>
#include <hal/nrf_power.h>
#include <zephyr/logging/log.h>
#include <string.h>

LOG_MODULE_REGISTER(bl_update, LOG_LEVEL_INF);

#include "batt.h"

void bl_enter_dfu(void)
{
	nrf_power_gpregret_set(NRF_POWER, 0, DFU_MAGIC_VALUE);
	sys_reboot(SYS_REBOOT_WARM);
}

#ifdef BL_IMAGE_INCLUDED

static const unsigned char bootloader_image[] = {
#include "bootloader_image_data.inc"
};
static const unsigned int bootloader_image_len = sizeof(bootloader_image);

bool bl_image_included(void)
{
	return true;
}

int bl_update_flash(void)
{
	LOG_INF("=== BOOTLOADER SELF-UPDATE STARTING ===");

	/* 1. Battery check */
	int batt = get_battery_pct();
	if (batt < 20)
	{
		LOG_ERR("Battery too low (%d%%), need >= 20%%", batt);
		return -1;
	}
	LOG_INF("Battery: %d%% (OK)", batt);

	/* 2. Copy bootloader image from flash .rodata into RAM.
	 *    This is critical: the NVMC halts CPU flash access during
	 *    erase/write. We must not read source data from flash while
	 *    writing to flash.
	 *    Static buffer avoids heap dependency (system heap is only 4KB). */
	static uint8_t ram_copy[(sizeof(bootloader_image) + 3u) & ~3u] __aligned(4);
	memcpy(ram_copy, bootloader_image, bootloader_image_len);

	/* 3. Verify the RAM copy matches the flash original (catch RAM corruption) */
	if (memcmp(ram_copy, bootloader_image, bootloader_image_len) != 0)
	{
		LOG_ERR("RAM copy verification failed!");
		return -3;
	}

	/* 4. Verify ARM vector table sanity in the image */
	if (bootloader_image_len < 16)
	{
		LOG_ERR("Image too small (%u bytes)", bootloader_image_len);
		return -4;
	}
	uint32_t sp, reset_vec;
	memcpy(&sp, ram_copy, 4);
	memcpy(&reset_vec, ram_copy + 4, 4);
	/* SP should be in SRAM (0x20000000 range) */
	if (sp < 0x20000000 || sp >= 0x20100000)
	{
		LOG_ERR("Invalid SP in vector table: 0x%08x", sp);
		return -4;
	}
	/* Reset vector should be in boot partition flash, Thumb bit set */
	if (reset_vec < 1 || reset_vec >= 0x0E000 || !(reset_vec & 1))
	{
		LOG_ERR("Invalid reset vector: 0x%08x", reset_vec);
		return -4;
	}
	LOG_INF("Vector table: SP=0x%08x Reset=0x%08x (OK)", sp, reset_vec);

	/* 5. Open boot partition */
	const struct flash_area *fa;
	int rc = flash_area_open(FIXED_PARTITION_ID(boot_partition), &fa);
	if (rc)
	{
		LOG_ERR("Failed to open boot partition: %d", rc);
		return -5;
	}

	if (bootloader_image_len > fa->fa_size)
	{
		LOG_ERR("Image (%u) exceeds partition (%u)",
			bootloader_image_len, fa->fa_size);
		flash_area_close(fa);
		return -5;
	}
	LOG_INF("Boot partition: offset=0x%x size=0x%x", (unsigned)fa->fa_off, (unsigned)fa->fa_size);

	/* Pad write length to 4-byte boundary (nRF5340 flash requires word-aligned writes).
	 * The static ram_copy buffer is __aligned(4) and sizeof(bootloader_image) rounded up
	 * fits within it. Padding bytes are irrelevant since the region was erased to 0xFF. */
	unsigned int write_len = (bootloader_image_len + 3u) & ~3u;
	LOG_INF("Image size: %u, write size (aligned): %u", bootloader_image_len, write_len);

	/* === POINT OF NO RETURN === */
	/* Retry loop: erase → write → verify. Up to 3 attempts. */
	#define BL_UPDATE_MAX_ATTEMPTS 3
	bool update_ok = false;

	for (int attempt = 1; attempt <= BL_UPDATE_MAX_ATTEMPTS; attempt++)
	{
		LOG_INF("--- Attempt %d/%d ---", attempt, BL_UPDATE_MAX_ATTEMPTS);

		/* Erase */
		LOG_INF("Erasing boot partition...");
		rc = flash_area_erase(fa, 0, fa->fa_size);
		if (rc)
		{
			LOG_ERR("CRITICAL: Erase failed: %d", rc);
			continue;
		}

		/* Write */
		LOG_INF("Writing bootloader (%u bytes from RAM)...", write_len);
		rc = flash_area_write(fa, 0, ram_copy, write_len);
		if (rc)
		{
			LOG_ERR("CRITICAL: Write failed: %d", rc);
			continue;
		}

		/* Read-back verify */
		LOG_INF("Verifying...");
		uint8_t readback[256];
		bool verify_ok = true;
		for (unsigned int offset = 0; offset < bootloader_image_len; offset += sizeof(readback))
		{
			unsigned int chunk = bootloader_image_len - offset;
			if (chunk > sizeof(readback))
				chunk = sizeof(readback);

			rc = flash_area_read(fa, offset, readback, chunk);
			if (rc)
			{
				LOG_ERR("Read-back failed at offset %u: %d", offset, rc);
				verify_ok = false;
				break;
			}

			if (memcmp(readback, &ram_copy[offset], chunk) != 0)
			{
				LOG_ERR("Verify mismatch at offset %u", offset);
				verify_ok = false;
				break;
			}
		}

		if (verify_ok)
		{
			update_ok = true;
			break;
		}

		LOG_ERR("Verify failed on attempt %d", attempt);
	}

	flash_area_close(fa);

	if (!update_ok)
	{
		LOG_ERR("CRITICAL: All %d attempts failed — DEVICE MAY NOT BOOT", BL_UPDATE_MAX_ATTEMPTS);
		return -8;
	}

	LOG_INF("=== BOOTLOADER UPDATE VERIFIED OK ===");
	LOG_INF("Rebooting in 1 second...");
	k_msleep(1000);
	sys_reboot(SYS_REBOOT_COLD);

	return 0; /* unreachable */
}

#else /* BL_IMAGE_INCLUDED not defined */

bool bl_image_included(void)
{
	return false;
}

int bl_update_flash(void)
{
	LOG_ERR("Bootloader image not included in this build");
	return -1;
}

#endif /* BL_IMAGE_INCLUDED */
```

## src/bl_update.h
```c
#ifndef BL_UPDATE_H
#define BL_UPDATE_H

#include <stdbool.h>

#define DFU_MAGIC_VALUE 0xB1

/* Flash the embedded bootloader image to the boot partition.
 * Returns 0 on success. Device will reboot on success.
 * Returns negative on error (battery low, flash failure, verify failure).
 * Returns -1 if bootloader image not included in build. */
int bl_update_flash(void);

/* Set GPREGRET and reboot into DFU mode */
void bl_enter_dfu(void);

/* Returns true if this firmware was built with the embedded bootloader image */
bool bl_image_included(void);

#endif
```

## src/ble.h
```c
int ble_main(void);
void ble_update();
void ble_notify_sensors(void);
void ble_refresh_adv(void);
void ble_print_addr(void);
void update_bthome_adv_data(void);
void ble_broadcast_bthome(void);

extern bool ble_ok;
extern bool ble_connected;
extern char device_id[7]; /* 6-char base-36 unique device ID */
```

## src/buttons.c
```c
#include <zephyr/kernel.h>
#include <zephyr/drivers/gpio.h>

#define N_ROWS 4
static const struct gpio_dt_spec btn_rows[N_ROWS] =
{
	GPIO_DT_SPEC_GET_BY_IDX(DT_NODELABEL(cat_misc), btn_row_gpios, 0),
	GPIO_DT_SPEC_GET_BY_IDX(DT_NODELABEL(cat_misc), btn_row_gpios, 1),
	GPIO_DT_SPEC_GET_BY_IDX(DT_NODELABEL(cat_misc), btn_row_gpios, 2),
	GPIO_DT_SPEC_GET_BY_IDX(DT_NODELABEL(cat_misc), btn_row_gpios, 3),
};

#define N_COLS 2
static const struct gpio_dt_spec btn_cols[N_COLS] =
{
	GPIO_DT_SPEC_GET_BY_IDX(DT_NODELABEL(cat_misc), btn_col_gpios, 0),
	GPIO_DT_SPEC_GET_BY_IDX(DT_NODELABEL(cat_misc), btn_col_gpios, 1),
};

void init_buttons()
{
	for (int i = 0; i < N_ROWS; i++)
	{
		init_pin(&btn_rows[i], "row_x", GPIO_INPUT|GPIO_PULL_UP);
	}

	for (int i = 0; i < N_COLS; i++)
	{
		init_pin(&btn_cols[i], "col_x", GPIO_OUTPUT_ACTIVE);
		gpio_pin_set_dt(&btn_cols[i], true);
	}
}

void deinit_buttons()
{
	for (int i = 0; i < N_COLS; i++)
	{
		// init_pin(&btn_cols[i], "col_x", GPIO_DISCONNECTED);
		gpio_pin_set_dt(&btn_cols[i], false);
	}
}

uint8_t current_buttons = 0;

void update_buttons()
{
	uint8_t bits = 0;

	for (int col = 0; col < N_COLS; col++)
	{
		gpio_pin_set_dt(&btn_cols[col], false);
		k_usleep(25);
		for (int row = 0; row < N_ROWS; row++)
		{
			bits <<= 1;
			bits |= gpio_pin_get_dt(&btn_rows[row]);
		}
		gpio_pin_set_dt(&btn_cols[col], true);
		k_usleep(25);
	}

	current_buttons = ~bits;
}
```

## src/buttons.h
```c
#include <stdint.h>

#define CAT_BTN_MASK_SELECT 0x01
#define CAT_BTN_MASK_START 0x02
#define CAT_BTN_MASK_A 0x04
#define CAT_BTN_MASK_B 0x08
#define CAT_BTN_MASK_DOWN 0x10
#define CAT_BTN_MASK_RIGHT 0x20
#define CAT_BTN_MASK_LEFT 0x40
#define CAT_BTN_MASK_UP 0x80

void init_buttons();
void deinit_buttons();

extern uint8_t current_buttons;
void update_buttons();
```

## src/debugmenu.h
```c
void draw_debug_menu();
```
